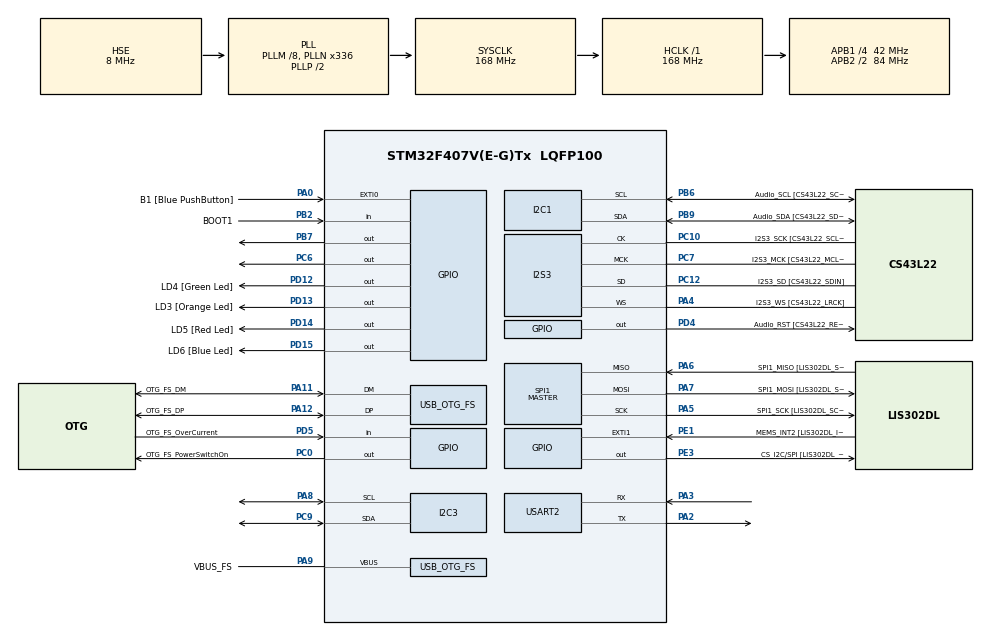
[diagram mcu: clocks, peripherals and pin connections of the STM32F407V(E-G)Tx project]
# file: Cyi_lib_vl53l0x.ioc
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I2C3.I2C_Mode=I2C_Fast
I2S3.AudioFreq-Half_Duplex_Master=I2S_AUDIOFREQ_96K
I2S3.ErrorAudioFreq=-2.34 %
I2S3.ErrorAudioFreq-Half_Duplex_Master=0.8 %
I2S3.FullDuplexMode=I2S_FULLDUPLEXMODE_DISABLE
I2S3.Instance=SPI$Index
I2S3.RealAudioFreq=93.75 KHz
I2S3.RealAudioFreq-Half_Duplex_Master=96.774 KHz
I2S3.VirtualMode=I2S_MODE_MASTER
Mcu.Family=STM32F4
Mcu.Name=STM32F407V(E-G)Tx
Mcu.Package=LQFP100
NVIC.I2C3_ER_IRQn=true\:0\:0\:false\:false\:true\:true\:true
NVIC.I2C3_EV_IRQn=true\:0\:0\:false\:false\:true\:true\:true
NVIC.OTG_FS_IRQn=true\:0\:0\:false\:false\:true\:true\:true
NVIC.PriorityGroup=NVIC_PRIORITYGROUP_0
NVIC.TIM3_IRQn=true\:0\:0\:false\:false\:true\:true\:true
NVIC.USART2_IRQn=true\:0\:0\:false\:false\:true\:true\:true
PA0-WKUP.GPIO_Label=B1 [Blue PushButton]
PA0-WKUP.GPIO_ModeDefaultEXTI=GPIO_MODE_EVT_RISING
PA0-WKUP.GPIO_PuPd=GPIO_NOPULL
PA0-WKUP.Signal=GPXTI0
PA10.GPIO_Label=OTG_FS_ID
PA10.GPIO_Mode=GPIO_MODE_AF_PP
PA10.GPIO_PuPd=GPIO_NOPULL
PA10.GPIO_Speed=GPIO_SPEED_FREQ_LOW
PA10.Signal=USB_OTG_FS_ID
PA11.GPIO_Label=OTG_FS_DM
PA11.GPIO_Mode=GPIO_MODE_AF_PP
PA11.GPIO_PuPd=GPIO_NOPULL
PA11.GPIO_Speed=GPIO_SPEED_FREQ_LOW
PA11.Mode=Host_Only
PA11.Signal=USB_OTG_FS_DM
PA12.GPIO_Label=OTG_FS_DP
PA12.GPIO_Mode=GPIO_MODE_AF_PP
PA12.GPIO_PuPd=GPIO_NOPULL
PA12.GPIO_Speed=GPIO_SPEED_FREQ_LOW
PA12.Mode=Host_Only
PA12.Signal=USB_OTG_FS_DP
PA13.GPIO_Label=SWDIO
PA13.Mode=Serial_Wire
PA13.Signal=SYS_JTMS-SWDIO
PA14.GPIO_Label=SWCLK
PA14.Mode=Serial_Wire
PA14.Signal=SYS_JTCK-SWCLK
PA2.Mode=Asynchronous
PA2.Signal=USART2_TX
PA3.Mode=Asynchronous
PA3.Signal=USART2_RX
PA4.GPIO_Label=I2S3_WS [CS43L22_LRCK]
PA4.GPIO_Mode=GPIO_MODE_AF_PP
PA4.GPIO_PuPd=GPIO_NOPULL
PA4.GPIO_Speed=GPIO_SPEED_FREQ_LOW
PA4.Mode=Half_Duplex_Master
PA4.Signal=I2S3_WS
PA5.GPIO_Label=SPI1_SCK [LIS302DL_SCL/SPC]
PA5.GPIO_Mode=GPIO_MODE_AF_PP
PA5.GPIO_PuPd=GPIO_NOPULL
PA5.GPIO_Speed=GPIO_SPEED_FREQ_LOW
PA5.Mode=Full_Duplex_Master
PA5.Signal=SPI1_SCK
PA6.GPIO_Label=SPI1_MISO [LIS302DL_SDO]
PA6.GPIO_Mode=GPIO_MODE_AF_PP
PA6.GPIO_PuPd=GPIO_NOPULL
PA6.GPIO_Speed=GPIO_SPEED_FREQ_LOW
PA6.Mode=Full_Duplex_Master
PA6.Signal=SPI1_MISO
PA7.GPIO_Label=SPI1_MOSI [LIS302DL_SDA/SDI/SDO]
PA7.GPIO_Mode=GPIO_MODE_AF_PP
PA7.GPIO_PuPd=GPIO_NOPULL
PA7.GPIO_Speed=GPIO_SPEED_FREQ_LOW
PA7.Mode=Full_Duplex_Master
PA7.Signal=SPI1_MOSI
PA8.Mode=I2C
PA8.Signal=I2C3_SCL
PA9.GPIO_Label=VBUS_FS
PA9.GPIO_Mode=GPIO_MODE_INPUT
PA9.GPIO_PuPd=GPIO_NOPULL
PA9.Mode=Activate_VBUS
PA9.Signal=USB_OTG_FS_VBUS
PB10.GPIO_Label=CLK_IN [MP45DT02_CLK]
PB10.GPIO_Mode=GPIO_MODE_AF_PP
PB10.GPIO_PuPd=GPIO_NOPULL
PB10.GPIO_Speed=GPIO_SPEED_FREQ_LOW
PB10.Signal=I2S2_CK
PB2.GPIO_Label=BOOT1
PB2.GPIO_Mode=GPIO_MODE_INPUT
PB2.GPIO_PuPd=GPIO_NOPULL
PB2.Signal=GPIO_Input
PB3.GPIO_Label=SWO
PB3.Signal=SYS_JTDO-SWO
PB6.GPIO_Label=Audio_SCL [CS43L22_SCL]
PB6.GPIO_Mode=GPIO_MODE_AF_OD
PB6.GPIO_PuPd=GPIO_NOPULL
PB6.GPIO_Speed=GPIO_SPEED_FREQ_LOW
PB6.Mode=I2C
PB6.Signal=I2C1_SCL
PB7.Signal=GPIO_Output
PB9.GPIO_Label=Audio_SDA [CS43L22_SDA]
PB9.GPIO_Mode=GPIO_MODE_AF_OD
PB9.GPIO_PuPd=GPIO_NOPULL
PB9.GPIO_Speed=GPIO_SPEED_FREQ_LOW
PB9.Mode=I2C
PB9.Signal=I2C1_SDA
PC0.GPIO_Label=OTG_FS_PowerSwitchOn
PC0.GPIO_PuPd=GPIO_NOPULL
PC0.GPIO_Speed=GPIO_SPEED_FREQ_LOW
PC0.PinState=GPIO_PIN_SET
PC0.Signal=GPIO_Output
PC10.GPIO_Label=I2S3_SCK [CS43L22_SCLK]
PC10.GPIO_Mode=GPIO_MODE_AF_PP
PC10.GPIO_PuPd=GPIO_NOPULL
PC10.GPIO_Speed=GPIO_SPEED_FREQ_LOW
PC10.Mode=Half_Duplex_Master
PC10.Signal=I2S3_CK
PC12.GPIO_Label=I2S3_SD [CS43L22_SDIN]
PC12.GPIO_Mode=GPIO_MODE_AF_PP
PC12.GPIO_PuPd=GPIO_NOPULL
PC12.GPIO_Speed=GPIO_SPEED_FREQ_LOW
PC12.Mode=Half_Duplex_Master
PC12.Signal=I2S3_SD
PC14-OSC32_IN.GPIO_Label=PC14-OSC32_IN
PC14-OSC32_IN.Mode=LSE-External-Oscillator
PC14-OSC32_IN.Signal=RCC_OSC32_IN
PC15-OSC32_OUT.GPIO_Label=PC15-OSC32_OUT
PC15-OSC32_OUT.Mode=LSE-External-Oscillator
PC15-OSC32_OUT.Signal=RCC_OSC32_OUT
PC3.GPIO_Label=PDM_OUT [MP45DT02_DOUT]
PC3.GPIO_Mode=GPIO_MODE_AF_PP
PC3.GPIO_PuPd=GPIO_NOPULL
PC3.GPIO_Speed=GPIO_SPEED_FREQ_LOW
PC3.Signal=I2S2_SD
PC6.Signal=GPIO_Output
PC7.GPIO_Label=I2S3_MCK [CS43L22_MCLK]
PC7.GPIO_Mode=GPIO_MODE_AF_PP
PC7.GPIO_PuPd=GPIO_NOPULL
PC7.GPIO_Speed=GPIO_SPEED_FREQ_LOW
PC7.Mode=Master_Clock_Activated
PC7.Signal=I2S3_MCK
PC9.Mode=I2C
PC9.Signal=I2C3_SDA
PD12.GPIO_Label=LD4 [Green Led]
PD12.GPIO_PuPd=GPIO_NOPULL
PD12.GPIO_Speed=GPIO_SPEED_FREQ_LOW
PD12.Signal=GPIO_Output
PD13.GPIO_Label=LD3 [Orange Led]
PD13.GPIO_PuPd=GPIO_NOPULL
PD13.GPIO_Speed=GPIO_SPEED_FREQ_LOW
PD13.Signal=GPIO_Output
PD14.GPIO_Label=LD5 [Red Led]
PD14.GPIO_PuPd=GPIO_NOPULL
PD14.GPIO_Speed=GPIO_SPEED_FREQ_LOW
PD14.Signal=GPIO_Output
PD15.GPIO_Label=LD6 [Blue Led]
PD15.GPIO_PuPd=GPIO_NOPULL
PD15.GPIO_Speed=GPIO_SPEED_FREQ_LOW
PD15.Signal=GPIO_Output
PD4.GPIO_Label=Audio_RST [CS43L22_RESET]
PD4.GPIO_PuPd=GPIO_NOPULL
PD4.GPIO_Speed=GPIO_SPEED_FREQ_LOW
PD4.Signal=GPIO_Output
PD5.GPIO_Label=OTG_FS_OverCurrent
PD5.GPIO_Mode=GPIO_MODE_INPUT
PD5.GPIO_PuPd=GPIO_NOPULL
PD5.Signal=GPIO_Input
PE1.GPIO_Label=MEMS_INT2 [LIS302DL_INT2]
PE1.GPIO_ModeDefaultEXTI=GPIO_MODE_EVT_RISING
PE1.GPIO_PuPd=GPIO_NOPULL
PE1.Signal=GPXTI1
PE3.GPIO_Label=CS_I2C/SPI [LIS302DL_CS_I2C/SPI]
PE3.GPIO_PuPd=GPIO_NOPULL
PE3.GPIO_Speed=GPIO_SPEED_FREQ_LOW
PE3.Signal=GPIO_Output
PH0-OSC_IN.GPIO_Label=PH0-OSC_IN
PH0-OSC_IN.Mode=HSE-External-Oscillator
PH0-OSC_IN.Signal=RCC_OSC_IN
PH1-OSC_OUT.GPIO_Label=PH1-OSC_OUT
PH1-OSC_OUT.Mode=HSE-External-Oscillator
PH1-OSC_OUT.Signal=RCC_OSC_OUT
ProjectManager.HeapSize=0x200
ProjectManager.StackSize=0x400
ProjectManager.TargetToolchain=SW4STM32
RCC.48MHZClocksFreq_Value=48000000
RCC.AHBFreq_Value=168000000
RCC.APB1CLKDivider=RCC_HCLK_DIV4
RCC.APB1Freq_Value=42000000
RCC.APB1TimFreq_Value=84000000
RCC.APB2CLKDivider=RCC_HCLK_DIV2
RCC.APB2Freq_Value=84000000
RCC.APB2TimFreq_Value=168000000
RCC.CortexFreq_Value=168000000
RCC.HCLKFreq_Value=168000000
RCC.HSE_VALUE=8000000
RCC.HSI_VALUE=16000000
RCC.PLLM=8
RCC.PLLN=336
RCC.PLLQ=7
RCC.SYSCLKFreq_VALUE=168000000
RCC.SYSCLKSource=RCC_SYSCLKSOURCE_PLLCLK
RCC.VCOOutputFreq_Value=336000000
SPI1.BaudRatePrescaler-Full_Duplex_Master=SPI_BAUDRATEPRESCALER_2
SPI1.CalculateBaudRate-Full_Duplex_Master=42.0 MBits/s
SPI1.Direction=SPI_DIRECTION_2LINES
SPI1.Mode=SPI_MODE_MASTER
SPI1.Mode-Full_Duplex_Master=SPI_MODE_MASTER
SPI1.VirtualType=VM_MASTER
TIM3.AutoReloadPreload=TIM_AUTORELOAD_PRELOAD_ENABLE
TIM3.Period=29999
TIM3.Prescaler=839
USART2.VirtualMode=VM_ASYNC
USB_HOST.BSP.number=1
USB_HOST.USBH_HandleTypeDef-CDC_FS=hUsbHostFS
USB_HOST.VirtualModeFS=Cdc
USB_HOST0.BSP.STBoard=false
USB_HOST0.BSP.api=Unknown
USB_HOST0.BSP.i2caddr=0
USB_HOST0.BSP.i2creg=0
USB_HOST0.BSP.instance=PC0
USB_HOST0.BSP.ip=GPIO
USB_HOST0.BSP.mode=Output
USB_HOST0.BSP.name=Drive_VBUS_FS
USB_HOST0.BSP.solution=PC0
USB_OTG_FS.VirtualMode=Host_Only
USB_OTG_FS.phy_itface=HCD_PHY_EMBEDDED
VP_TIM3_VS_ClockSourceINT.Mode=Internal
VP_USB_HOST_VS_USB_HOST_CDC_FS.Mode=CDC_FS
board=STM32F407G-DISC1

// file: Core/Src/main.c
/* USER CODE BEGIN Header */
/**
  ******************************************************************************
  * @file           : main.c
  * @brief          : Main program body
  ******************************************************************************
  * @attention
  *
  * <h2><center>&copy; Copyright (c) 2020 STMicroelectronics.
  * All rights reserved.</center></h2>
  *
  * This software component is licensed by ST under Ultimate Liberty license
  * SLA0044, the "License"; You may not use this file except in compliance with
  * the License. You may obtain a copy of the License at:
  *                             www.st.com/SLA0044
  *
  ******************************************************************************
  */
/* USER CODE END Header */
#include "main.h"
#include "usb_host.h"

/* USER CODE BEGIN Includes */
#include "VL53L0X.h"
/* USER CODE END Includes */

/* USER CODE BEGIN PTD */

#define LONG_RANGE

// Uncomment ONE of these two lines to get
// - higher speed at the cost of lower accuracy OR
// - higher accuracy at the cost of lower speed

//#define HIGH_SPEED
//#define HIGH_ACCURACY
/* USER CODE END PTD */

I2C_HandleTypeDef hi2c1;
I2C_HandleTypeDef hi2c3;

I2S_HandleTypeDef hi2s3;

SPI_HandleTypeDef hspi1;

TIM_HandleTypeDef htim3;

UART_HandleTypeDef huart2;

void SystemClock_Config(void);
static void MX_GPIO_Init(void);
static void MX_I2C1_Init(void);
static void MX_I2S3_Init(void);
static void MX_SPI1_Init(void);
static void MX_TIM3_Init(void);
static void MX_USART2_UART_Init(void);
static void MX_I2C3_Init(void);
void MX_USB_HOST_Process(void);

/* USER CODE BEGIN 0 */
struct VL53L0X myTOFsensor = {.io_2v8 = true, .address = 0x52, .io_timeout = 300, .did_timeout = false,.hi2c = &hi2c1};
struct VL53L0X myTOFsensor2 = {.io_2v8 = true, .address = 0x52, .io_timeout = 300, .did_timeout = false,.hi2c = &hi2c3};
uint16_t value_vl53_1;
uint16_t value_vl53_2;
uint16_t tick;
uint16_t mag_val;
uint8_t mag_val_xx00,mag_val_00xx;
/* USER CODE END 0 */

int main(void)
{

  /* MCU Configuration--------------------------------------------------------*/

  /* Reset of all peripherals, Initializes the Flash interface and the Systick. */
  HAL_Init();

  /* Configure the system clock */
  SystemClock_Config();

  /* Initialize all configured peripherals */
  MX_GPIO_Init();
  MX_I2C1_Init();
  MX_I2S3_Init();
  MX_SPI1_Init();
  MX_USB_HOST_Init();
  MX_TIM3_Init();
  MX_USART2_UART_Init();
  MX_I2C3_Init();
  /* USER CODE BEGIN 2 */
  /*
  uint8_t write_temp[2] = {0x23,0x46};
  uint8_t data_t[3];
  uint8_t memAdd[1] = {0xC0};
  uint16_t range_val;
*/
  /* Init Xshut i2c1, i2c2*/
  HAL_GPIO_WritePin(GPIOB,GPIO_PIN_7,RESET);
  HAL_Delay(2);
  HAL_GPIO_WritePin(GPIOB,GPIO_PIN_7,SET);
  HAL_Delay(2);
  HAL_GPIO_WritePin(GPIOC,GPIO_PIN_6,RESET);
  HAL_Delay(2);
  HAL_GPIO_WritePin(GPIOC,GPIO_PIN_6,SET);
  HAL_Delay(2);
	 VL53L0X_init(&myTOFsensor);
	 VL53L0X_init(&myTOFsensor2);
#ifdef LONG_RANGE
	// lower the return signal rate limit (default is 0.25 MCPS)
	VL53L0X_setSignalRateLimit(&myTOFsensor, 0.1);
	VL53L0X_setSignalRateLimit(&myTOFsensor2, 0.1);
	// increase laser pulse periods (defaults are 14 and 10 PCLKs)
	VL53L0X_setVcselPulsePeriod(&myTOFsensor, VcselPeriodPreRange, 18);
	VL53L0X_setVcselPulsePeriod(&myTOFsensor2, VcselPeriodPreRange, 18);

	VL53L0X_setVcselPulsePeriod(&myTOFsensor, VcselPeriodFinalRange, 14);
	VL53L0X_setVcselPulsePeriod(&myTOFsensor2, VcselPeriodFinalRange, 14);
#endif
#ifdef HIGH_SPEED
	// reduce timing budget to 20 ms (default is about 33 ms)
	VL53L0X_setMeasurementTimingBudget(&myTOFsensor, 20000);
	VL53L0X_setMeasurementTimingBudget(&myTOFsensor2, 20000);

#else //HIGH_ACCURACY
	// increase timing budget to 200 ms
	VL53L0X_setMeasurementTimingBudget(&myTOFsensor, 200000);
	VL53L0X_setMeasurementTimingBudget(&myTOFsensor2, 200000);

#endif

	VL53L0X_startContinuous(&myTOFsensor, 0);
	VL53L0X_startContinuous(&myTOFsensor2, 0);
	  HAL_TIM_Base_Start_IT(&htim3);
  /* USER CODE END 2 */

  /* Infinite loop */
  while (1)
  {
    MX_USB_HOST_Process();

    /* USER CODE BEGIN 3 */

    mag_val = value_vl53_1;
   	  mag_val_xx00 = (uint8_t)(mag_val/100);
   	  mag_val_00xx = (uint8_t)(mag_val%100);
   	  HAL_UART_Transmit(&huart2,&mag_val_xx00,1,100);
   	  //HAL_Delay(10);
   	  HAL_UART_Transmit(&huart2,&mag_val_00xx,1,100);
   	 mag_val = value_vl53_2;
   	   	  mag_val_xx00 = (uint8_t)(mag_val/100);
   	   	  mag_val_00xx = (uint8_t)(mag_val%100);
   	   	  HAL_UART_Transmit(&huart2,&mag_val_xx00,1,100);
   	   	  //HAL_Delay(10);
   	   	  HAL_UART_Transmit(&huart2,&mag_val_00xx,1,100);

   	  //HAL_UART_Transmit(&huart2,&send_byte,1,100);
   	  HAL_Delay(100);

  }
  /* USER CODE END 3 */
}

void SystemClock_Config(void)
{
  RCC_OscInitTypeDef RCC_OscInitStruct = {0};
  RCC_ClkInitTypeDef RCC_ClkInitStruct = {0};
  RCC_PeriphCLKInitTypeDef PeriphClkInitStruct = {0};

  /** Configure the main internal regulator output voltage
  */
  __HAL_RCC_PWR_CLK_ENABLE();
  __HAL_PWR_VOLTAGESCALING_CONFIG(PWR_REGULATOR_VOLTAGE_SCALE1);
  /** Initializes the RCC Oscillators according to the specified parameters
  * in the RCC_OscInitTypeDef structure.
  */
  RCC_OscInitStruct.OscillatorType = RCC_OSCILLATORTYPE_HSE;
  RCC_OscInitStruct.HSEState = RCC_HSE_ON;
  RCC_OscInitStruct.PLL.PLLState = RCC_PLL_ON;
  RCC_OscInitStruct.PLL.PLLSource = RCC_PLLSOURCE_HSE;
  RCC_OscInitStruct.PLL.PLLM = 8;
  RCC_OscInitStruct.PLL.PLLN = 336;
  RCC_OscInitStruct.PLL.PLLP = RCC_PLLP_DIV2;
  RCC_OscInitStruct.PLL.PLLQ = 7;
  if (HAL_RCC_OscConfig(&RCC_OscInitStruct) != HAL_OK)
  {
    Error_Handler();
  }
  /** Initializes the CPU, AHB and APB buses clocks
  */
  RCC_ClkInitStruct.ClockType = RCC_CLOCKTYPE_HCLK|RCC_CLOCKTYPE_SYSCLK
                              |RCC_CLOCKTYPE_PCLK1|RCC_CLOCKTYPE_PCLK2;
  RCC_ClkInitStruct.SYSCLKSource = RCC_SYSCLKSOURCE_PLLCLK;
  RCC_ClkInitStruct.AHBCLKDivider = RCC_SYSCLK_DIV1;
  RCC_ClkInitStruct.APB1CLKDivider = RCC_HCLK_DIV4;
  RCC_ClkInitStruct.APB2CLKDivider = RCC_HCLK_DIV2;

  if (HAL_RCC_ClockConfig(&RCC_ClkInitStruct, FLASH_LATENCY_5) != HAL_OK)
  {
    Error_Handler();
  }
  PeriphClkInitStruct.PeriphClockSelection = RCC_PERIPHCLK_I2S;
  PeriphClkInitStruct.PLLI2S.PLLI2SN = 192;
  PeriphClkInitStruct.PLLI2S.PLLI2SR = 2;
  if (HAL_RCCEx_PeriphCLKConfig(&PeriphClkInitStruct) != HAL_OK)
  {
    Error_Handler();
  }
}

static void MX_I2C1_Init(void)
{

  hi2c1.Instance = I2C1;
  hi2c1.Init.ClockSpeed = 100000;
  hi2c1.Init.DutyCycle = I2C_DUTYCYCLE_2;
  hi2c1.Init.OwnAddress1 = 0;
  hi2c1.Init.AddressingMode = I2C_ADDRESSINGMODE_7BIT;
  hi2c1.Init.DualAddressMode = I2C_DUALADDRESS_DISABLE;
  hi2c1.Init.OwnAddress2 = 0;
  hi2c1.Init.GeneralCallMode = I2C_GENERALCALL_DISABLE;
  hi2c1.Init.NoStretchMode = I2C_NOSTRETCH_DISABLE;
  if (HAL_I2C_Init(&hi2c1) != HAL_OK)
  {
    Error_Handler();
  }

}

static void MX_I2C3_Init(void)
{

  hi2c3.Instance = I2C3;
  hi2c3.Init.ClockSpeed = 400000;
  hi2c3.Init.DutyCycle = I2C_DUTYCYCLE_2;
  hi2c3.Init.OwnAddress1 = 0;
  hi2c3.Init.AddressingMode = I2C_ADDRESSINGMODE_7BIT;
  hi2c3.Init.DualAddressMode = I2C_DUALADDRESS_DISABLE;
  hi2c3.Init.OwnAddress2 = 0;
  hi2c3.Init.GeneralCallMode = I2C_GENERALCALL_DISABLE;
  hi2c3.Init.NoStretchMode = I2C_NOSTRETCH_DISABLE;
  if (HAL_I2C_Init(&hi2c3) != HAL_OK)
  {
    Error_Handler();
  }

}

static void MX_I2S3_Init(void)
{

  hi2s3.Instance = SPI3;
  hi2s3.Init.Mode = I2S_MODE_MASTER_TX;
  hi2s3.Init.Standard = I2S_STANDARD_PHILIPS;
  hi2s3.Init.DataFormat = I2S_DATAFORMAT_16B;
  hi2s3.Init.MCLKOutput = I2S_MCLKOUTPUT_ENABLE;
  hi2s3.Init.AudioFreq = I2S_AUDIOFREQ_96K;
  hi2s3.Init.CPOL = I2S_CPOL_LOW;
  hi2s3.Init.ClockSource = I2S_CLOCK_PLL;
  hi2s3.Init.FullDuplexMode = I2S_FULLDUPLEXMODE_DISABLE;
  if (HAL_I2S_Init(&hi2s3) != HAL_OK)
  {
    Error_Handler();
  }

}

static void MX_SPI1_Init(void)
{

  /* SPI1 parameter configuration*/
  hspi1.Instance = SPI1;
  hspi1.Init.Mode = SPI_MODE_MASTER;
  hspi1.Init.Direction = SPI_DIRECTION_2LINES;
  hspi1.Init.DataSize = SPI_DATASIZE_8BIT;
  hspi1.Init.CLKPolarity = SPI_POLARITY_LOW;
  hspi1.Init.CLKPhase = SPI_PHASE_1EDGE;
  hspi1.Init.NSS = SPI_NSS_SOFT;
  hspi1.Init.BaudRatePrescaler = SPI_BAUDRATEPRESCALER_2;
  hspi1.Init.FirstBit = SPI_FIRSTBIT_MSB;
  hspi1.Init.TIMode = SPI_TIMODE_DISABLE;
  hspi1.Init.CRCCalculation = SPI_CRCCALCULATION_DISABLE;
  hspi1.Init.CRCPolynomial = 10;
  if (HAL_SPI_Init(&hspi1) != HAL_OK)
  {
    Error_Handler();
  }

}

static void MX_TIM3_Init(void)
{

  TIM_ClockConfigTypeDef sClockSourceConfig = {0};
  TIM_MasterConfigTypeDef sMasterConfig = {0};

  htim3.Instance = TIM3;
  htim3.Init.Prescaler = 839;
  htim3.Init.CounterMode = TIM_COUNTERMODE_UP;
  htim3.Init.Period = 29999;
  htim3.Init.ClockDivision = TIM_CLOCKDIVISION_DIV1;
  htim3.Init.AutoReloadPreload = TIM_AUTORELOAD_PRELOAD_ENABLE;
  if (HAL_TIM_Base_Init(&htim3) != HAL_OK)
  {
    Error_Handler();
  }
  sClockSourceConfig.ClockSource = TIM_CLOCKSOURCE_INTERNAL;
  if (HAL_TIM_ConfigClockSource(&htim3, &sClockSourceConfig) != HAL_OK)
  {
    Error_Handler();
  }
  sMasterConfig.MasterOutputTrigger = TIM_TRGO_RESET;
  sMasterConfig.MasterSlaveMode = TIM_MASTERSLAVEMODE_DISABLE;
  if (HAL_TIMEx_MasterConfigSynchronization(&htim3, &sMasterConfig) != HAL_OK)
  {
    Error_Handler();
  }

}

static void MX_USART2_UART_Init(void)
{

  huart2.Instance = USART2;
  huart2.Init.BaudRate = 115200;
  huart2.Init.WordLength = UART_WORDLENGTH_8B;
  huart2.Init.StopBits = UART_STOPBITS_1;
  huart2.Init.Parity = UART_PARITY_NONE;
  huart2.Init.Mode = UART_MODE_TX_RX;
  huart2.Init.HwFlowCtl = UART_HWCONTROL_NONE;
  huart2.Init.OverSampling = UART_OVERSAMPLING_16;
  if (HAL_UART_Init(&huart2) != HAL_OK)
  {
    Error_Handler();
  }

}

static void MX_GPIO_Init(void)
{
  GPIO_InitTypeDef GPIO_InitStruct = {0};

  /* GPIO Ports Clock Enable */
  __HAL_RCC_GPIOE_CLK_ENABLE();
  __HAL_RCC_GPIOC_CLK_ENABLE();
  __HAL_RCC_GPIOH_CLK_ENABLE();
  __HAL_RCC_GPIOA_CLK_ENABLE();
  __HAL_RCC_GPIOB_CLK_ENABLE();
  __HAL_RCC_GPIOD_CLK_ENABLE();

  /*Configure GPIO pin Output Level */
  HAL_GPIO_WritePin(CS_I2C_SPI_GPIO_Port, CS_I2C_SPI_Pin, GPIO_PIN_RESET);

  /*Configure GPIO pin Output Level */
  HAL_GPIO_WritePin(OTG_FS_PowerSwitchOn_GPIO_Port, OTG_FS_PowerSwitchOn_Pin, GPIO_PIN_SET);

  /*Configure GPIO pin Output Level */
  HAL_GPIO_WritePin(GPIOD, LD4_Pin|LD3_Pin|LD5_Pin|LD6_Pin
                          |Audio_RST_Pin, GPIO_PIN_RESET);

  /*Configure GPIO pin Output Level */
  HAL_GPIO_WritePin(GPIOC, GPIO_PIN_6, GPIO_PIN_RESET);

  /*Configure GPIO pin Output Level */
  HAL_GPIO_WritePin(GPIOB, GPIO_PIN_7, GPIO_PIN_RESET);

  /*Configure GPIO pin : CS_I2C_SPI_Pin */
  GPIO_InitStruct.Pin = CS_I2C_SPI_Pin;
  GPIO_InitStruct.Mode = GPIO_MODE_OUTPUT_PP;
  GPIO_InitStruct.Pull = GPIO_NOPULL;
  GPIO_InitStruct.Speed = GPIO_SPEED_FREQ_LOW;
  HAL_GPIO_Init(CS_I2C_SPI_GPIO_Port, &GPIO_InitStruct);

  /*Configure GPIO pins : OTG_FS_PowerSwitchOn_Pin PC6 */
  GPIO_InitStruct.Pin = OTG_FS_PowerSwitchOn_Pin|GPIO_PIN_6;
  GPIO_InitStruct.Mode = GPIO_MODE_OUTPUT_PP;
  GPIO_InitStruct.Pull = GPIO_NOPULL;
  GPIO_InitStruct.Speed = GPIO_SPEED_FREQ_LOW;
  HAL_GPIO_Init(GPIOC, &GPIO_InitStruct);

  /*Configure GPIO pin : PDM_OUT_Pin */
  GPIO_InitStruct.Pin = PDM_OUT_Pin;
  GPIO_InitStruct.Mode = GPIO_MODE_AF_PP;
  GPIO_InitStruct.Pull = GPIO_NOPULL;
  GPIO_InitStruct.Speed = GPIO_SPEED_FREQ_LOW;
  GPIO_InitStruct.Alternate = GPIO_AF5_SPI2;
  HAL_GPIO_Init(PDM_OUT_GPIO_Port, &GPIO_InitStruct);

  /*Configure GPIO pin : B1_Pin */
  GPIO_InitStruct.Pin = B1_Pin;
  GPIO_InitStruct.Mode = GPIO_MODE_EVT_RISING;
  GPIO_InitStruct.Pull = GPIO_NOPULL;
  HAL_GPIO_Init(B1_GPIO_Port, &GPIO_InitStruct);

  /*Configure GPIO pin : BOOT1_Pin */
  GPIO_InitStruct.Pin = BOOT1_Pin;
  GPIO_InitStruct.Mode = GPIO_MODE_INPUT;
  GPIO_InitStruct.Pull = GPIO_NOPULL;
  HAL_GPIO_Init(BOOT1_GPIO_Port, &GPIO_InitStruct);

  /*Configure GPIO pin : CLK_IN_Pin */
  GPIO_InitStruct.Pin = CLK_IN_Pin;
  GPIO_InitStruct.Mode = GPIO_MODE_AF_PP;
  GPIO_InitStruct.Pull = GPIO_NOPULL;
  GPIO_InitStruct.Speed = GPIO_SPEED_FREQ_LOW;
  GPIO_InitStruct.Alternate = GPIO_AF5_SPI2;
  HAL_GPIO_Init(CLK_IN_GPIO_Port, &GPIO_InitStruct);

  /*Configure GPIO pins : LD4_Pin LD3_Pin LD5_Pin LD6_Pin
                           Audio_RST_Pin */
  GPIO_InitStruct.Pin = LD4_Pin|LD3_Pin|LD5_Pin|LD6_Pin
                          |Audio_RST_Pin;
  GPIO_InitStruct.Mode = GPIO_MODE_OUTPUT_PP;
  GPIO_InitStruct.Pull = GPIO_NOPULL;
  GPIO_InitStruct.Speed = GPIO_SPEED_FREQ_LOW;
  HAL_GPIO_Init(GPIOD, &GPIO_InitStruct);

  /*Configure GPIO pin : OTG_FS_OverCurrent_Pin */
  GPIO_InitStruct.Pin = OTG_FS_OverCurrent_Pin;
  GPIO_InitStruct.Mode = GPIO_MODE_INPUT;
  GPIO_InitStruct.Pull = GPIO_NOPULL;
  HAL_GPIO_Init(OTG_FS_OverCurrent_GPIO_Port, &GPIO_InitStruct);

  /*Configure GPIO pin : PB7 */
  GPIO_InitStruct.Pin = GPIO_PIN_7;
  GPIO_InitStruct.Mode = GPIO_MODE_OUTPUT_PP;
  GPIO_InitStruct.Pull = GPIO_NOPULL;
  GPIO_InitStruct.Speed = GPIO_SPEED_FREQ_LOW;
  HAL_GPIO_Init(GPIOB, &GPIO_InitStruct);

  /*Configure GPIO pin : MEMS_INT2_Pin */
  GPIO_InitStruct.Pin = MEMS_INT2_Pin;
  GPIO_InitStruct.Mode = GPIO_MODE_EVT_RISING;
  GPIO_InitStruct.Pull = GPIO_NOPULL;
  HAL_GPIO_Init(MEMS_INT2_GPIO_Port, &GPIO_InitStruct);

}

void Error_Handler(void)
{
}

/************************ (C) COPYRIGHT STMicroelectronics *****END OF FILE****/
